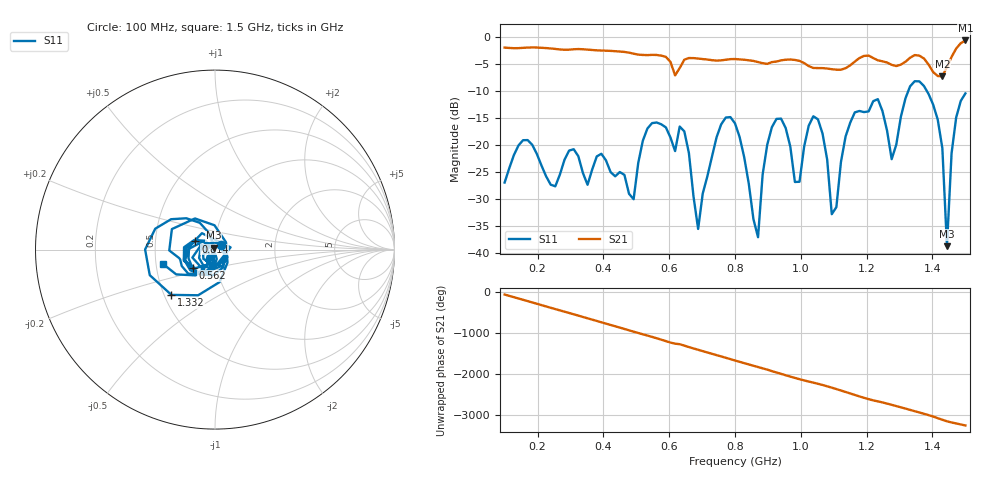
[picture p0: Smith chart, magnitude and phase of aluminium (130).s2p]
! NanoVNA-App
! Date: 2025-09-25 14:56:17
! Start: 100MHz Stop: 1,5GHz Points: 101
! S-Parameter data: F S11 S21 S12 S22
# Hz S RI R 50
!  Frequency  S11_Real  S11_Imag  S21_Real  S21_Imag  S12_Real  S12_Imag  S22_Real  S22_Imag
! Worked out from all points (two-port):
!   101 points, 100 MHz to 1.5 GHz, reference 50 ohm
!   highest |S21| = -0.60 dB at 1.5 GHz (marker M1); lowest = -7.3 dB at 1.43 GHz (marker M2)
!   |S21| within 3 dB of the highest: start of sweep to 587.1 MHz; 1.459 GHz to end of sweep (the widest 2 of 4)
!   lowest |S11| = -38.8 dB at 1.444 GHz (marker M3), VSWR 1.02, Z = 49.4 + j0.975 ohm
!   |S11| at or under -10 dB: start of sweep to 1.326 GHz; 1.383 GHz to end of sweep
!   S12 and S22 are empty: the file has one direction only
!   S11 on the Smith chart (normalised r, x): 100 MHz: 1.07, +0.06; 562 MHz: 0.76, -0.16; 814 MHz: 0.80, +0.07; 1.332 GHz: 0.55, -0.31; 1.5 GHz: 0.54, -0.10
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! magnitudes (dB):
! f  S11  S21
! 100 MHz  -27.0  -1.9
! 338 MHz  -25.2  -2.2
! 492 MHz  -30.1  -3.1
! 562 MHz  -15.8  -3.3
! 576 MHz  -16.2  -3.4
! 646 MHz  -17.5  -4.2
! 688 MHz  -35.6  -4.0
! 800 MHz  -16.0  -4.0
! 814 MHz  -18.5  -4.1
! 870 MHz  -37.2  -4.6
! 912 MHz  -16.7  -4.6
! 996 MHz  -26.8  -4.4
! 1.038 GHz  -14.7  -5.7
! 1.094 GHz  -32.9  -5.9
! 1.164 GHz  -14.0  -4.5
! 1.234 GHz  -11.5  -4.3
! 1.276 GHz  -22.6  -5.1
! 1.332 GHz  -9.1  -3.8
! 1.43 GHz  -20.6  -7.3
! 1.444 GHz  -38.8  -5.5
! 1.458 GHz  -21.6  -3.7
! 1.5 GHz  -10.4  -0.6
